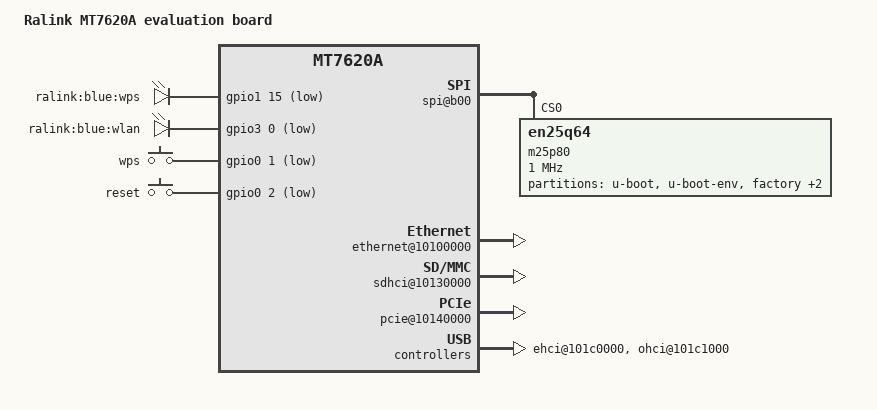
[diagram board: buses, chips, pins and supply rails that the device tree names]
/dts-v1/;

/include/ "mt7620a.dtsi"

/ {
	compatible = "ralink,mt7620a-eval-board", "ralink,mt7620a-soc";
	model = "Ralink MT7620A evaluation board";

	palmbus@10000000 {
		sysc@0 {
			ralink,gpiomux = "i2c", "jtag";
			ralink,uartmux = "gpio";
			ralink,wdtmux = <1>;
		};

		gpio0: gpio@600 {
			status = "okay";
		};

		gpio1: gpio@638 {
			status = "okay";
		};

		gpio3: gpio@688 {
			status = "okay";
		};

		spi@b00 {
			status = "okay";

			m25p80@0 {
				#address-cells = <1>;
				#size-cells = <1>;
				compatible = "en25q64";
				reg = <0 0>;
				linux,modalias = "m25p80", "en25q64";
				spi-max-frequency = <1000000>;

				partition@0 {
					label = "u-boot";
					reg = <0x0 0x30000>;
					read-only;
				};

				partition@30000 {
					label = "u-boot-env";
					reg = <0x30000 0x10000>;
				};

				factory: partition@40000 {
					label = "factory";
					reg = <0x40000 0x10000>;
				};

				partition@50000 {
					label = "firmware";
					reg = <0x50000 0x7a0000>;
				};

				partition@7f0000 {
					label = "Config";
					reg = <0x7f0000 0x10000>;
				};
			};
		};
	};

	pinctrl {
		state_default: pinctrl0 {
			default {
				ralink,group = "i2c", "uartf", "wled", "spi refclk";
				ralink,function = "gpio";
			};
		};
	};

	ethernet@10100000 {
		status = "okay";

		pinctrl-names = "default";
		pinctrl-0 = <&ephy_pins>;

		ralink,port-map = "llllw";
	};

	gsw@10110000 {
		ralink,port4 = "ephy";
	};

	sdhci@10130000 {
		status = "okay";
	};

	pcie@10140000 {
		status = "okay";
	};

    gpio-leds {
		compatible = "gpio-leds";

		wps {
			label = "ralink:blue:wps";
			gpios = <&gpio1 15 1>;
		};

		wlan {
			label = "ralink:blue:wlan";
			gpios = <&gpio3 0 1>;
		};
    };

	gpio-keys-polled {
		compatible = "gpio-keys";
		#address-cells = <1>;
		#size-cells = <0>;
		poll-interval = <20>;
		wps {
			label = "wps";
			gpios = <&gpio0 1 1>;
			linux,code = <0x100>;
		};
		reset {
			label = "reset";
			gpios = <&gpio0 2 1>;
			linux,code = <0x101>;
		};
	};

	ehci@101c0000 {
		status = "okay";
	};

	ohci@101c1000 {
		status = "okay";
	};
};
